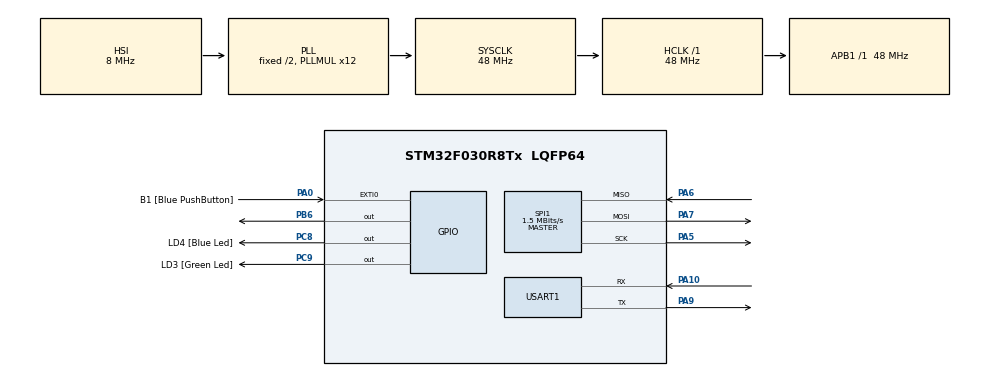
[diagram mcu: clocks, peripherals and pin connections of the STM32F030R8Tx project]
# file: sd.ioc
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Mcu.Family=STM32F0
PA6.Mode=Full_Duplex_Master
PA7.Mode=Full_Duplex_Master
PA10.Mode=Asynchronous
SPI1.VirtualType=VM_MASTER
PC9.GPIO_Label=LD3 [Green Led]
PA14.GPIO_Label=SWCLK
PA0.GPIO_Label=B1 [Blue PushButton]
PC8.Signal=GPIO_Output
RCC.SYSCLKSource=RCC_SYSCLKSOURCE_PLLCLK
ProjectManager.StackSize=0x400
PC8.GPIO_Label=LD4 [Blue Led]
USART1.VirtualMode-Asynchronous=VM_ASYNC
PA13.Signal=SYS_SWDIO
PA9.Mode=Asynchronous
ProjectManager.TargetToolchain=STM32CubeIDE
SPI1.Direction=SPI_DIRECTION_2LINES
RCC.HCLKFreq_Value=48000000
PA9.Signal=USART1_TX
PB6.Signal=GPIO_Output
SPI1.CalculateBaudRate=1.5 MBits/s
RCC.AHBFreq_Value=48000000
PA5.Signal=SPI1_SCK
board=STM32F0308-DISCO
RCC.PLLMUL=RCC_PLL_MUL12
SPI1.Mode=SPI_MODE_MASTER
PA14.Mode=Serial_Wire
PA0.GPIO_ModeDefaultEXTI=GPIO_MODE_EVT_RISING
PA13.Mode=Serial_Wire
Mcu.Name=STM32F030R8Tx
PA13.GPIO_Label=SWDIO
PA0.Signal=GPXTI0
RCC.SYSCLKFreq_VALUE=48000000
Mcu.Package=LQFP64
PA6.Signal=SPI1_MISO
PA10.Signal=USART1_RX
PA14.Signal=SYS_SWCLK
ProjectManager.HeapSize=0x200
RCC.APB1TimFreq_Value=48000000
PC9.Signal=GPIO_Output
RCC.APB1Freq_Value=48000000
SPI1.BaudRatePrescaler=SPI_BAUDRATEPRESCALER_32
PA5.Mode=Full_Duplex_Master
PA7.Signal=SPI1_MOSI

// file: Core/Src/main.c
/* USER CODE BEGIN Header */
/**
  ******************************************************************************
  * @file           : main.c
  * @brief          : Main program body
  ******************************************************************************
  * @attention
  *
  * <h2><center>&copy; Copyright (c) 2021 STMicroelectronics.
  * All rights reserved.</center></h2>
  *
  * This software component is licensed by ST under BSD 3-Clause license,
  * the "License"; You may not use this file except in compliance with the
  * License. You may obtain a copy of the License at:
  *                        opensource.org/licenses/BSD-3-Clause
  *
  ******************************************************************************
  */
/* USER CODE END Header */
#include "main.h"
#include "stdlib.h"
/* USER CODE BEGIN Includes */
#include "sdsc.h"
#include "fat32.h"

/* USER CODE END Includes */

SPI_HandleTypeDef hspi1;

UART_HandleTypeDef huart1;

void SystemClock_Config(void);
static void MX_GPIO_Init(void);
static void MX_SPI1_Init(void);
static void MX_USART1_UART_Init(void);
/* USER CODE BEGIN PFP */
static void SPI_TxByte(uint8_t data)
{
  while (HAL_SPI_GetState(&hspi1) != HAL_SPI_STATE_READY);
  HAL_SPI_Transmit(&hspi1, &data, 1, 1000);
}

/* SPI Data send / receive return type function */
static uint8_t SPI_RxByte(void)
{
  uint8_t dummy, data;
  dummy = 0xFF;
  data = 0;

  while ((HAL_SPI_GetState(&hspi1) != HAL_SPI_STATE_READY));
  HAL_SPI_TransmitReceive(&hspi1, &dummy, &data, 1, 1000);

  return data;
}
static void SELECT(void)
{
  HAL_GPIO_WritePin(SD_CS_GPIO_Port, SD_CS_Pin, GPIO_PIN_RESET);
}

/* SPI Chip Deselect */
static void DESELECT(void)
{
  HAL_GPIO_WritePin(SD_CS_GPIO_Port, SD_CS_Pin, GPIO_PIN_SET);
}
void usart_putch(uint8_t dat)
{
	HAL_UART_Transmit(&huart1, &dat, 1, 1000);
}
void init_devices ( void )
{

	sdsc = ( sdsc_interface * ) malloc ( sizeof ( sdsc_interface ) );
	sdsc -> spi_tx = SPI_TxByte;
	sdsc -> spi_rx = SPI_RxByte;
	//sdsc -> spi_init = 0;
	//sdsc -> spi_init_2x = 0;
	sdsc -> sdsc_assert = SELECT;
	sdsc -> sdsc_deassert = DESELECT;
	sdsc_init ();

	fat = ( fat32_interface * ) malloc ( sizeof ( fat32_interface ) );
	fat -> read_single_block = read_single_block;
	fat -> send_data_byte = usart_putch;
	fat32_init ();

	//usart_init ();
}
/* USER CODE END PFP */

int main(void)
{

  /* MCU Configuration--------------------------------------------------------*/

  /* Reset of all peripherals, Initializes the Flash interface and the Systick. */
  HAL_Init();

  /* Configure the system clock */
  SystemClock_Config();

  /* Initialize all configured peripherals */
  MX_GPIO_Init();
  MX_SPI1_Init();
  MX_USART1_UART_Init();

  HAL_UART_Transmit(&huart1, "HELLO\n", 6, 1000);
  /* USER CODE BEGIN 2 */
  init_devices();
  /* USER CODE END 2 */
  list_files();
  /* Infinite loop */
  while (1)
  {

  }
}

void SystemClock_Config(void)
{
  RCC_OscInitTypeDef RCC_OscInitStruct = {0};
  RCC_ClkInitTypeDef RCC_ClkInitStruct = {0};
  RCC_PeriphCLKInitTypeDef PeriphClkInit = {0};

  /** Initializes the RCC Oscillators according to the specified parameters
  * in the RCC_OscInitTypeDef structure.
  */
  RCC_OscInitStruct.OscillatorType = RCC_OSCILLATORTYPE_HSI;
  RCC_OscInitStruct.HSIState = RCC_HSI_ON;
  RCC_OscInitStruct.HSICalibrationValue = RCC_HSICALIBRATION_DEFAULT;
  RCC_OscInitStruct.PLL.PLLState = RCC_PLL_ON;
  RCC_OscInitStruct.PLL.PLLSource = RCC_PLLSOURCE_HSI;
  RCC_OscInitStruct.PLL.PLLMUL = RCC_PLL_MUL12;
  RCC_OscInitStruct.PLL.PREDIV = RCC_PREDIV_DIV1;
  if (HAL_RCC_OscConfig(&RCC_OscInitStruct) != HAL_OK)
  {
    Error_Handler();
  }
  /** Initializes the CPU, AHB and APB buses clocks
  */
  RCC_ClkInitStruct.ClockType = RCC_CLOCKTYPE_HCLK|RCC_CLOCKTYPE_SYSCLK
                              |RCC_CLOCKTYPE_PCLK1;
  RCC_ClkInitStruct.SYSCLKSource = RCC_SYSCLKSOURCE_PLLCLK;
  RCC_ClkInitStruct.AHBCLKDivider = RCC_SYSCLK_DIV1;
  RCC_ClkInitStruct.APB1CLKDivider = RCC_HCLK_DIV1;

  if (HAL_RCC_ClockConfig(&RCC_ClkInitStruct, FLASH_LATENCY_1) != HAL_OK)
  {
    Error_Handler();
  }
  PeriphClkInit.PeriphClockSelection = RCC_PERIPHCLK_USART1;
  PeriphClkInit.Usart1ClockSelection = RCC_USART1CLKSOURCE_PCLK1;
  if (HAL_RCCEx_PeriphCLKConfig(&PeriphClkInit) != HAL_OK)
  {
    Error_Handler();
  }
}

static void MX_SPI1_Init(void)
{

  /* SPI1 parameter configuration*/
  hspi1.Instance = SPI1;
  hspi1.Init.Mode = SPI_MODE_MASTER;
  hspi1.Init.Direction = SPI_DIRECTION_2LINES;
  hspi1.Init.DataSize = SPI_DATASIZE_4BIT;
  hspi1.Init.CLKPolarity = SPI_POLARITY_LOW;
  hspi1.Init.CLKPhase = SPI_PHASE_1EDGE;
  hspi1.Init.NSS = SPI_NSS_SOFT;
  hspi1.Init.BaudRatePrescaler = SPI_BAUDRATEPRESCALER_32;
  hspi1.Init.FirstBit = SPI_FIRSTBIT_MSB;
  hspi1.Init.TIMode = SPI_TIMODE_DISABLE;
  hspi1.Init.CRCCalculation = SPI_CRCCALCULATION_DISABLE;
  hspi1.Init.CRCPolynomial = 7;
  hspi1.Init.CRCLength = SPI_CRC_LENGTH_DATASIZE;
  hspi1.Init.NSSPMode = SPI_NSS_PULSE_ENABLE;
  if (HAL_SPI_Init(&hspi1) != HAL_OK)
  {
    Error_Handler();
  }

}

static void MX_USART1_UART_Init(void)
{

  huart1.Instance = USART1;
  huart1.Init.BaudRate = 38400;
  huart1.Init.WordLength = UART_WORDLENGTH_8B;
  huart1.Init.StopBits = UART_STOPBITS_1;
  huart1.Init.Parity = UART_PARITY_NONE;
  huart1.Init.Mode = UART_MODE_TX_RX;
  huart1.Init.HwFlowCtl = UART_HWCONTROL_NONE;
  huart1.Init.OverSampling = UART_OVERSAMPLING_16;
  huart1.Init.OneBitSampling = UART_ONE_BIT_SAMPLE_DISABLE;
  huart1.AdvancedInit.AdvFeatureInit = UART_ADVFEATURE_NO_INIT;
  if (HAL_UART_Init(&huart1) != HAL_OK)
  {
    Error_Handler();
  }

}

static void MX_GPIO_Init(void)
{
  GPIO_InitTypeDef GPIO_InitStruct = {0};

  /* GPIO Ports Clock Enable */
  __HAL_RCC_GPIOA_CLK_ENABLE();
  __HAL_RCC_GPIOC_CLK_ENABLE();
  __HAL_RCC_GPIOB_CLK_ENABLE();

  /*Configure GPIO pin Output Level */
  HAL_GPIO_WritePin(GPIOC, LD4_Pin|LD3_Pin, GPIO_PIN_RESET);

  /*Configure GPIO pin Output Level */
  HAL_GPIO_WritePin(GPIOB, GPIO_PIN_6, GPIO_PIN_RESET);

  /*Configure GPIO pin : B1_Pin */
  GPIO_InitStruct.Pin = B1_Pin;
  GPIO_InitStruct.Mode = GPIO_MODE_EVT_RISING;
  GPIO_InitStruct.Pull = GPIO_NOPULL;
  HAL_GPIO_Init(B1_GPIO_Port, &GPIO_InitStruct);

  /*Configure GPIO pins : LD4_Pin LD3_Pin */
  GPIO_InitStruct.Pin = LD4_Pin|LD3_Pin;
  GPIO_InitStruct.Mode = GPIO_MODE_OUTPUT_PP;
  GPIO_InitStruct.Pull = GPIO_NOPULL;
  GPIO_InitStruct.Speed = GPIO_SPEED_FREQ_LOW;
  HAL_GPIO_Init(GPIOC, &GPIO_InitStruct);

  /*Configure GPIO pin : PB6 */
  GPIO_InitStruct.Pin = GPIO_PIN_6;
  GPIO_InitStruct.Mode = GPIO_MODE_OUTPUT_PP;
  GPIO_InitStruct.Pull = GPIO_NOPULL;
  GPIO_InitStruct.Speed = GPIO_SPEED_FREQ_LOW;
  HAL_GPIO_Init(GPIOB, &GPIO_InitStruct);

}

void Error_Handler(void)
{
  __disable_irq();
  while (1)
  {
  }
}

/************************ (C) COPYRIGHT STMicroelectronics *****END OF FILE****/
